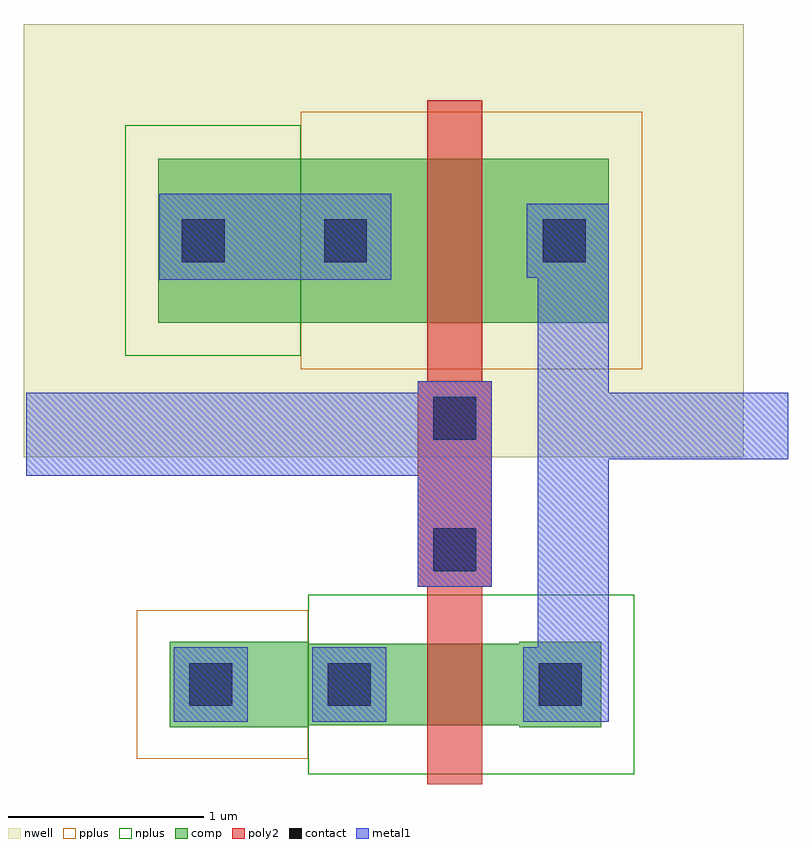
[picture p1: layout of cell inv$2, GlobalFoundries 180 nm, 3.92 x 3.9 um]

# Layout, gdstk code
from math import pi, radians
import gdstk
lib = gdstk.Library(unit=1e-6, precision=5e-09)
def R(c, l, rs):  # rectangles x0, y0, x1, y1
    for r in rs: c.add(gdstk.rectangle(r[:2], r[2:], *l))
def P(c, l, *ps):  # polygons
    for p in ps: c.add(gdstk.Polygon(p, *l))
nwell = (21, 0)
comp = (22, 0)
poly2 = (30, 0)
pplus = (31, 0)
nplus = (32, 0)
contact = (33, 0)
metal1 = (34, 0)

pfet_2 = lib.new_cell('pfet$2')
R(pfet_2, nwell, [(-1.15,-0.69,2.54,1.53)])
R(pfet_2, comp, [(-0.46,0,0,0.84), (0,0,0.66,0.84), (0.66,0,1.12,0.84), (1.12,0,1.85,0.84)])
R(pfet_2, poly2, [(0.19,-0.3,0.47,1.14), (0.14,1.14,0.52,1.52)])
R(pfet_2, pplus, [(-0.63,-0.24,1.12,1.08)])
R(pfet_2, nplus, [(1.12,-0.17,2.02,1.01)])
R(pfet_2, contact, [(-0.34,0.31,-0.12,0.53), (0.78,0.31,1,0.53), (1.51,0.31,1.73,0.53), (0.22,1.22,0.44,1.44)])
R(pfet_2, metal1, [(-0.42,0.23,-0.04,0.61), (0.7,0.23,1.08,0.61), (1.43,0.23,1.81,0.61), (0.14,1.14,0.52,1.52)])

nfet_1_2 = lib.new_cell('nfet$1$2')
R(nfet_1_2, comp, [(-0.42,-0.01,0,0.43), (1.08,-0.01,1.35,0.43), (1.08,-0.01,1.79,0.43), (0,0,1.08,0.42)])
R(nfet_1_2, poly2, [(0.19,-0.3,0.47,0.72), (0.15,0.72,0.51,1.08)])
R(nfet_1_2, pplus, [(1.08,-0.17,1.96,0.59)])
R(nfet_1_2, nplus, [(-0.59,-0.25,1.08,0.67)])
R(nfet_1_2, contact, [(-0.32,0.1,-0.1,0.32), (1.47,0.1,1.69,0.32), (0.22,0.79,0.44,1.01)])
P(nfet_1_2, contact, [(0.76,0.1),(0.76,0.275),(0.76,0.32),(0.98,0.32),(0.98,0.1)])
R(nfet_1_2, metal1, [(-0.4,0.02,-0.02,0.4), (0.68,0.02,1.06,0.4), (1.39,0.02,1.77,0.4), (0.14,0.71,0.52,1.09)])

inv_2 = lib.new_cell('inv$2')
R(inv_2, poly2, [(0.355,0.135,0.735,1.19)])
R(inv_2, metal1, [(0.97,-0.555,1.335,2.1), (0.355,0.135,0.735,1.155), (-1.65,0.705,0.73,1.13), (0.97,0.79,2.255,1.13), (-0.97,1.71,0.22,2.15)])
P(inv_2, metal1, [(0.355,1.155),(0.355,1.155),(0.735,1.155),(0.735,1.155)])
inv_2.add(gdstk.Reference(pfet_2, (0.875,2.33), rotation=pi))
inv_2.add(gdstk.Reference(nfet_1_2, (0.875,-0.575), rotation=pi, x_reflection=True))

lib.write_gds('inv_2.gds')
